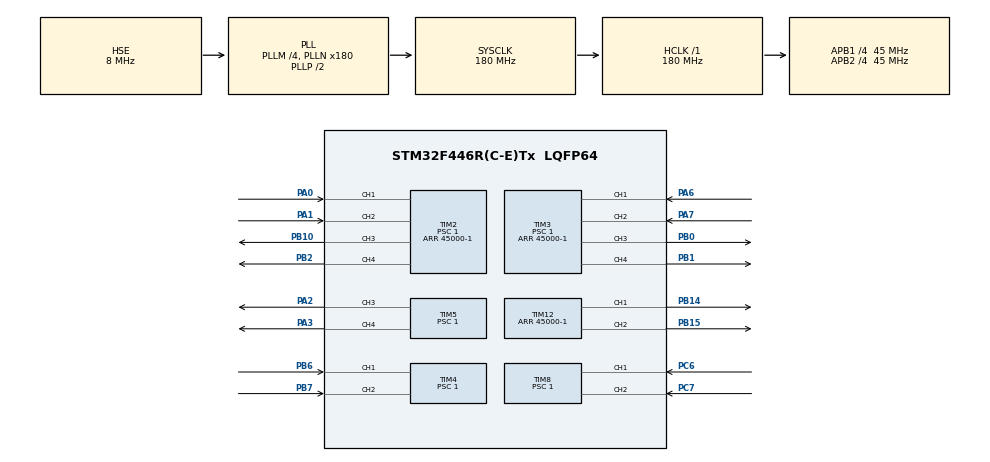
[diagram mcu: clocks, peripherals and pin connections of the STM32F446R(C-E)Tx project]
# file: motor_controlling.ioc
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Mcu.Family=STM32F4
Mcu.Name=STM32F446R(C-E)Tx
Mcu.Package=LQFP64
NVIC.PriorityGroup=NVIC_PRIORITYGROUP_4
PA0-WKUP.Signal=S_TIM2_CH1_ETR
PA1.Signal=S_TIM2_CH2
PA2.Signal=S_TIM5_CH3
PA3.Signal=S_TIM5_CH4
PA6.Signal=S_TIM3_CH1
PA7.Signal=S_TIM3_CH2
PB0.Signal=S_TIM3_CH3
PB1.Signal=S_TIM3_CH4
PB10.Signal=S_TIM2_CH3
PB14.Signal=S_TIM12_CH1
PB15.Signal=S_TIM12_CH2
PB2.Signal=S_TIM2_CH4
PB6.Signal=S_TIM4_CH1
PB7.Signal=S_TIM4_CH2
PC6.Signal=S_TIM8_CH1
PC7.Signal=S_TIM8_CH2
PH0-OSC_IN.Mode=HSE-External-Oscillator
PH0-OSC_IN.Signal=RCC_OSC_IN
PH1-OSC_OUT.Mode=HSE-External-Oscillator
PH1-OSC_OUT.Signal=RCC_OSC_OUT
ProjectManager.HeapSize=0x200
ProjectManager.StackSize=0x400
ProjectManager.TargetToolchain=STM32CubeIDE
RCC.AHBFreq_Value=180000000
RCC.APB1CLKDivider=RCC_HCLK_DIV4
RCC.APB1Freq_Value=45000000
RCC.APB1TimFreq_Value=90000000
RCC.APB2CLKDivider=RCC_HCLK_DIV4
RCC.APB2Freq_Value=45000000
RCC.APB2TimFreq_Value=90000000
RCC.CortexFreq_Value=180000000
RCC.HCLKFreq_Value=180000000
RCC.HSE_VALUE=8000000
RCC.PLLM=4
RCC.PLLN=180
RCC.PLLSourceVirtual=RCC_PLLSOURCE_HSE
RCC.SYSCLKFreq_VALUE=180000000
RCC.SYSCLKSource=RCC_SYSCLKSOURCE_PLLCLK
RCC.USBFreq_Value=180000000
RCC.VCOOutputFreq_Value=360000000
SH.S_TIM12_CH1.0=TIM12_CH1,PWM Generation1 CH1
SH.S_TIM12_CH2.0=TIM12_CH2,PWM Generation2 CH2
SH.S_TIM2_CH1_ETR.0=TIM2_CH1,Encoder_Interface
SH.S_TIM2_CH2.0=TIM2_CH2,Encoder_Interface
SH.S_TIM2_CH3.0=TIM2_CH3,PWM Generation3 CH3
SH.S_TIM2_CH4.0=TIM2_CH4,PWM Generation4 CH4
SH.S_TIM3_CH1.0=TIM3_CH1,Encoder_Interface
SH.S_TIM3_CH2.0=TIM3_CH2,Encoder_Interface
SH.S_TIM3_CH3.0=TIM3_CH3,PWM Generation3 CH3
SH.S_TIM3_CH4.0=TIM3_CH4,PWM Generation4 CH4
SH.S_TIM4_CH1.0=TIM4_CH1,Encoder_Interface
SH.S_TIM4_CH2.0=TIM4_CH2,Encoder_Interface
SH.S_TIM5_CH3.0=TIM5_CH3,PWM Generation3 CH3
SH.S_TIM5_CH4.0=TIM5_CH4,PWM Generation4 CH4
SH.S_TIM8_CH1.0=TIM8_CH1,Encoder_Interface
SH.S_TIM8_CH2.0=TIM8_CH2,Encoder_Interface
TIM12.Channel-PWM\ Generation1\ CH1=TIM_CHANNEL_1
TIM12.Channel-PWM\ Generation2\ CH2=TIM_CHANNEL_2
TIM12.Period=45000-1
TIM2.Channel-PWM\ Generation3\ CH3=TIM_CHANNEL_3
TIM2.Channel-PWM\ Generation4\ CH4=TIM_CHANNEL_4
TIM2.Period=45000-1
TIM2.Prescaler=1
TIM3.Channel-PWM\ Generation3\ CH3=TIM_CHANNEL_3
TIM3.Channel-PWM\ Generation4\ CH4=TIM_CHANNEL_4
TIM3.Period=45000-1
TIM3.Prescaler=1
TIM4.Period=45000-1
TIM4.Prescaler=1
TIM5.Channel-PWM\ Generation3\ CH3=TIM_CHANNEL_3
TIM5.Channel-PWM\ Generation4\ CH4=TIM_CHANNEL_4
TIM5.Period=45000-1
TIM5.Prescaler=1
TIM8.Period=45000-1
TIM8.Prescaler=1
VP_TIM12_VS_ClockSourceINT.Mode=Internal
board=custom

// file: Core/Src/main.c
/* USER CODE BEGIN Header */
/**
  ******************************************************************************
  * @file           : main.c
  * @brief          : Main program body
  ******************************************************************************
  * @attention
  *
  * Copyright (c) 2025 STMicroelectronics.
  * All rights reserved.
  *
  * This software is licensed under terms that can be found in the LICENSE file
  * in the root directory of this software component.
  * If no LICENSE file comes with this software, it is provided AS-IS.
  *
  ******************************************************************************
  */
/* USER CODE END Header */
#include "main.h"

/* USER CODE BEGIN Includes */
#include <stdlib.h>
#include "motor_controlling.h"  //
/* USER CODE END Includes */

/* USER CODE BEGIN PD */
#define ENCODER_CPR 515  // Update based on your measured value (1040-1054)
/* USER CODE END PD */

TIM_HandleTypeDef htim2;
TIM_HandleTypeDef htim3;
TIM_HandleTypeDef htim4;
TIM_HandleTypeDef htim5;
TIM_HandleTypeDef htim8;
TIM_HandleTypeDef htim12;

/* USER CODE BEGIN PV */
MotorController motor1;
uint32_t last_update_time = 0;

static float current_rpm = 0.0f;
static uint32_t counter = 0;
/* USER CODE END PV */

void SystemClock_Config(void);
static void MX_GPIO_Init(void);
static void MX_TIM2_Init(void);
static void MX_TIM3_Init(void);
static void MX_TIM12_Init(void);
static void MX_TIM4_Init(void);
static void MX_TIM5_Init(void);
static void MX_TIM8_Init(void);
/* USER CODE BEGIN PFP */
void motor_stop(void);
void motor_forward(void);
void motor_backward(void);
int32_t get_encoder_count(void);
void update_rpm(void);
float get_rpm(void);
void motor_forward_speed(uint8_t speed_percent);
void motor_backward_speed(uint8_t speed_percent);
void motor_startup(uint8_t direction);
/* USER CODE END PFP */

int main(void)
{

  /* MCU Configuration--------------------------------------------------------*/

  /* Reset of all peripherals, Initializes the Flash interface and the Systick. */
  HAL_Init();

  /* Configure the system clock */
  SystemClock_Config();

  /* Initialize all configured peripherals */
  MX_GPIO_Init();
  MX_TIM2_Init();
  MX_TIM3_Init();
  MX_TIM12_Init();
  MX_TIM4_Init();
  MX_TIM5_Init();
  MX_TIM8_Init();
  /* USER CODE BEGIN 2 */
  // ✅ More aggressive base gains for faster response
  MotorController_Setup(&motor1, &htim2, &htim12,
                       TIM_CHANNEL_1,    // Timer12 CH1 - Forward
                       TIM_CHANNEL_2,    // Timer12 CH2 - Backward
                       2.5, 0.8, 0.05);  // Kp=2.5, Ki=0.8 (DOUBLED from 0.4), Kd=0.05

  HAL_TIM_Encoder_Start(&htim2, TIM_CHANNEL_ALL);

  // Enable motor controller
  MotorController_Enable(&motor1);

  MotorController_SetTargetRPM(&motor1, 130);  // Tăng từ 50 lên 100

  last_update_time = HAL_GetTick();
  /* USER CODE END 2 */

  /* Infinite loop */
  /* USER CODE BEGIN WHILE */
  while (1)
  {
    uint32_t current_time = HAL_GetTick();
    uint32_t dt = current_time - last_update_time;

    if (dt >= 10) {
        MotorController_Update(&motor1, dt);
        current_rpm = MotorController_GetRPM(&motor1);
        last_update_time = current_time;

        // ✅ MORE AGGRESSIVE: Reset integral periodically
        static uint32_t reset_counter = 0;
        reset_counter++;

        if (reset_counter >= 500) {  // Every 5 seconds
            motor1.integral *= 0.1f;  // Reduce integral by 90%
            reset_counter = 0;
        }

        // ✅ IMMEDIATE reset if motor is very close to target
        float error = fabs(130.0f - current_rpm);
        if (error < 0.5f) {
            motor1.integral = 0;  // Immediate reset when very close
        }
    }

    HAL_Delay(1);

    /* USER CODE END WHILE */
  }
  /* USER CODE END 3 */
}

void SystemClock_Config(void)
{
  RCC_OscInitTypeDef RCC_OscInitStruct = {0};
  RCC_ClkInitTypeDef RCC_ClkInitStruct = {0};

  /** Configure the main internal regulator output voltage
  */
  __HAL_RCC_PWR_CLK_ENABLE();
  __HAL_PWR_VOLTAGESCALING_CONFIG(PWR_REGULATOR_VOLTAGE_SCALE1);

  /** Initializes the RCC Oscillators according to the specified parameters
  * in the RCC_OscInitTypeDef structure.
  */
  RCC_OscInitStruct.OscillatorType = RCC_OSCILLATORTYPE_HSE;
  RCC_OscInitStruct.HSEState = RCC_HSE_ON;
  RCC_OscInitStruct.PLL.PLLState = RCC_PLL_ON;
  RCC_OscInitStruct.PLL.PLLSource = RCC_PLLSOURCE_HSE;
  RCC_OscInitStruct.PLL.PLLM = 4;
  RCC_OscInitStruct.PLL.PLLN = 180;
  RCC_OscInitStruct.PLL.PLLP = RCC_PLLP_DIV2;
  RCC_OscInitStruct.PLL.PLLQ = 2;
  RCC_OscInitStruct.PLL.PLLR = 2;
  if (HAL_RCC_OscConfig(&RCC_OscInitStruct) != HAL_OK)
  {
    Error_Handler();
  }

  /** Activate the Over-Drive mode
  */
  if (HAL_PWREx_EnableOverDrive() != HAL_OK)
  {
    Error_Handler();
  }

  /** Initializes the CPU, AHB and APB buses clocks
  */
  RCC_ClkInitStruct.ClockType = RCC_CLOCKTYPE_HCLK|RCC_CLOCKTYPE_SYSCLK
                              |RCC_CLOCKTYPE_PCLK1|RCC_CLOCKTYPE_PCLK2;
  RCC_ClkInitStruct.SYSCLKSource = RCC_SYSCLKSOURCE_PLLCLK;
  RCC_ClkInitStruct.AHBCLKDivider = RCC_SYSCLK_DIV1;
  RCC_ClkInitStruct.APB1CLKDivider = RCC_HCLK_DIV4;
  RCC_ClkInitStruct.APB2CLKDivider = RCC_HCLK_DIV4;

  if (HAL_RCC_ClockConfig(&RCC_ClkInitStruct, FLASH_LATENCY_5) != HAL_OK)
  {
    Error_Handler();
  }
}

static void MX_TIM2_Init(void)
{

  TIM_Encoder_InitTypeDef sConfig = {0};
  TIM_MasterConfigTypeDef sMasterConfig = {0};
  TIM_OC_InitTypeDef sConfigOC = {0};

  htim2.Instance = TIM2;
  htim2.Init.Prescaler = 1;
  htim2.Init.CounterMode = TIM_COUNTERMODE_UP;
  htim2.Init.Period = 45000-1;
  htim2.Init.ClockDivision = TIM_CLOCKDIVISION_DIV1;
  htim2.Init.AutoReloadPreload = TIM_AUTORELOAD_PRELOAD_DISABLE;
  if (HAL_TIM_PWM_Init(&htim2) != HAL_OK)
  {
    Error_Handler();
  }
  sConfig.EncoderMode = TIM_ENCODERMODE_TI1;
  sConfig.IC1Polarity = TIM_ICPOLARITY_RISING;
  sConfig.IC1Selection = TIM_ICSELECTION_DIRECTTI;
  sConfig.IC1Prescaler = TIM_ICPSC_DIV1;
  sConfig.IC1Filter = 0;
  sConfig.IC2Polarity = TIM_ICPOLARITY_RISING;
  sConfig.IC2Selection = TIM_ICSELECTION_DIRECTTI;
  sConfig.IC2Prescaler = TIM_ICPSC_DIV1;
  sConfig.IC2Filter = 0;
  if (HAL_TIM_Encoder_Init(&htim2, &sConfig) != HAL_OK)
  {
    Error_Handler();
  }
  sMasterConfig.MasterOutputTrigger = TIM_TRGO_RESET;
  sMasterConfig.MasterSlaveMode = TIM_MASTERSLAVEMODE_DISABLE;
  if (HAL_TIMEx_MasterConfigSynchronization(&htim2, &sMasterConfig) != HAL_OK)
  {
    Error_Handler();
  }
  sConfigOC.OCMode = TIM_OCMODE_PWM1;
  sConfigOC.Pulse = 0;
  sConfigOC.OCPolarity = TIM_OCPOLARITY_HIGH;
  sConfigOC.OCFastMode = TIM_OCFAST_DISABLE;
  if (HAL_TIM_PWM_ConfigChannel(&htim2, &sConfigOC, TIM_CHANNEL_3) != HAL_OK)
  {
    Error_Handler();
  }
  if (HAL_TIM_PWM_ConfigChannel(&htim2, &sConfigOC, TIM_CHANNEL_4) != HAL_OK)
  {
    Error_Handler();
  }
  HAL_TIM_MspPostInit(&htim2);

}

static void MX_TIM3_Init(void)
{

  TIM_Encoder_InitTypeDef sConfig = {0};
  TIM_MasterConfigTypeDef sMasterConfig = {0};
  TIM_OC_InitTypeDef sConfigOC = {0};

  htim3.Instance = TIM3;
  htim3.Init.Prescaler = 1;
  htim3.Init.CounterMode = TIM_COUNTERMODE_UP;
  htim3.Init.Period = 45000-1;
  htim3.Init.ClockDivision = TIM_CLOCKDIVISION_DIV1;
  htim3.Init.AutoReloadPreload = TIM_AUTORELOAD_PRELOAD_DISABLE;
  if (HAL_TIM_PWM_Init(&htim3) != HAL_OK)
  {
    Error_Handler();
  }
  sConfig.EncoderMode = TIM_ENCODERMODE_TI1;
  sConfig.IC1Polarity = TIM_ICPOLARITY_RISING;
  sConfig.IC1Selection = TIM_ICSELECTION_DIRECTTI;
  sConfig.IC1Prescaler = TIM_ICPSC_DIV1;
  sConfig.IC1Filter = 0;
  sConfig.IC2Polarity = TIM_ICPOLARITY_RISING;
  sConfig.IC2Selection = TIM_ICSELECTION_DIRECTTI;
  sConfig.IC2Prescaler = TIM_ICPSC_DIV1;
  sConfig.IC2Filter = 0;
  if (HAL_TIM_Encoder_Init(&htim3, &sConfig) != HAL_OK)
  {
    Error_Handler();
  }
  sMasterConfig.MasterOutputTrigger = TIM_TRGO_RESET;
  sMasterConfig.MasterSlaveMode = TIM_MASTERSLAVEMODE_DISABLE;
  if (HAL_TIMEx_MasterConfigSynchronization(&htim3, &sMasterConfig) != HAL_OK)
  {
    Error_Handler();
  }
  sConfigOC.OCMode = TIM_OCMODE_PWM1;
  sConfigOC.Pulse = 0;
  sConfigOC.OCPolarity = TIM_OCPOLARITY_HIGH;
  sConfigOC.OCFastMode = TIM_OCFAST_DISABLE;
  if (HAL_TIM_PWM_ConfigChannel(&htim3, &sConfigOC, TIM_CHANNEL_3) != HAL_OK)
  {
    Error_Handler();
  }
  if (HAL_TIM_PWM_ConfigChannel(&htim3, &sConfigOC, TIM_CHANNEL_4) != HAL_OK)
  {
    Error_Handler();
  }
  HAL_TIM_MspPostInit(&htim3);

}

static void MX_TIM4_Init(void)
{

  TIM_Encoder_InitTypeDef sConfig = {0};
  TIM_MasterConfigTypeDef sMasterConfig = {0};

  htim4.Instance = TIM4;
  htim4.Init.Prescaler = 1;
  htim4.Init.CounterMode = TIM_COUNTERMODE_UP;
  htim4.Init.Period = 45000-1;
  htim4.Init.ClockDivision = TIM_CLOCKDIVISION_DIV1;
  htim4.Init.AutoReloadPreload = TIM_AUTORELOAD_PRELOAD_DISABLE;
  sConfig.EncoderMode = TIM_ENCODERMODE_TI1;
  sConfig.IC1Polarity = TIM_ICPOLARITY_RISING;
  sConfig.IC1Selection = TIM_ICSELECTION_DIRECTTI;
  sConfig.IC1Prescaler = TIM_ICPSC_DIV1;
  sConfig.IC1Filter = 0;
  sConfig.IC2Polarity = TIM_ICPOLARITY_RISING;
  sConfig.IC2Selection = TIM_ICSELECTION_DIRECTTI;
  sConfig.IC2Prescaler = TIM_ICPSC_DIV1;
  sConfig.IC2Filter = 0;
  if (HAL_TIM_Encoder_Init(&htim4, &sConfig) != HAL_OK)
  {
    Error_Handler();
  }
  sMasterConfig.MasterOutputTrigger = TIM_TRGO_RESET;
  sMasterConfig.MasterSlaveMode = TIM_MASTERSLAVEMODE_DISABLE;
  if (HAL_TIMEx_MasterConfigSynchronization(&htim4, &sMasterConfig) != HAL_OK)
  {
    Error_Handler();
  }

}

static void MX_TIM5_Init(void)
{

  TIM_MasterConfigTypeDef sMasterConfig = {0};
  TIM_OC_InitTypeDef sConfigOC = {0};

  htim5.Instance = TIM5;
  htim5.Init.Prescaler = 1;
  htim5.Init.CounterMode = TIM_COUNTERMODE_UP;
  htim5.Init.Period = 45000-1;
  htim5.Init.ClockDivision = TIM_CLOCKDIVISION_DIV1;
  htim5.Init.AutoReloadPreload = TIM_AUTORELOAD_PRELOAD_DISABLE;
  if (HAL_TIM_PWM_Init(&htim5) != HAL_OK)
  {
    Error_Handler();
  }
  sMasterConfig.MasterOutputTrigger = TIM_TRGO_RESET;
  sMasterConfig.MasterSlaveMode = TIM_MASTERSLAVEMODE_DISABLE;
  if (HAL_TIMEx_MasterConfigSynchronization(&htim5, &sMasterConfig) != HAL_OK)
  {
    Error_Handler();
  }
  sConfigOC.OCMode = TIM_OCMODE_PWM1;
  sConfigOC.Pulse = 0;
  sConfigOC.OCPolarity = TIM_OCPOLARITY_HIGH;
  sConfigOC.OCFastMode = TIM_OCFAST_DISABLE;
  if (HAL_TIM_PWM_ConfigChannel(&htim5, &sConfigOC, TIM_CHANNEL_3) != HAL_OK)
  {
    Error_Handler();
  }
  if (HAL_TIM_PWM_ConfigChannel(&htim5, &sConfigOC, TIM_CHANNEL_4) != HAL_OK)
  {
    Error_Handler();
  }
  HAL_TIM_MspPostInit(&htim5);

}

static void MX_TIM8_Init(void)
{

  TIM_Encoder_InitTypeDef sConfig = {0};
  TIM_MasterConfigTypeDef sMasterConfig = {0};

  htim8.Instance = TIM8;
  htim8.Init.Prescaler = 1;
  htim8.Init.CounterMode = TIM_COUNTERMODE_UP;
  htim8.Init.Period = 45000-1;
  htim8.Init.ClockDivision = TIM_CLOCKDIVISION_DIV1;
  htim8.Init.RepetitionCounter = 0;
  htim8.Init.AutoReloadPreload = TIM_AUTORELOAD_PRELOAD_DISABLE;
  sConfig.EncoderMode = TIM_ENCODERMODE_TI1;
  sConfig.IC1Polarity = TIM_ICPOLARITY_RISING;
  sConfig.IC1Selection = TIM_ICSELECTION_DIRECTTI;
  sConfig.IC1Prescaler = TIM_ICPSC_DIV1;
  sConfig.IC1Filter = 0;
  sConfig.IC2Polarity = TIM_ICPOLARITY_RISING;
  sConfig.IC2Selection = TIM_ICSELECTION_DIRECTTI;
  sConfig.IC2Prescaler = TIM_ICPSC_DIV1;
  sConfig.IC2Filter = 0;
  if (HAL_TIM_Encoder_Init(&htim8, &sConfig) != HAL_OK)
  {
    Error_Handler();
  }
  sMasterConfig.MasterOutputTrigger = TIM_TRGO_RESET;
  sMasterConfig.MasterSlaveMode = TIM_MASTERSLAVEMODE_DISABLE;
  if (HAL_TIMEx_MasterConfigSynchronization(&htim8, &sMasterConfig) != HAL_OK)
  {
    Error_Handler();
  }

}

static void MX_TIM12_Init(void)
{

  TIM_ClockConfigTypeDef sClockSourceConfig = {0};
  TIM_OC_InitTypeDef sConfigOC = {0};

  htim12.Instance = TIM12;
  htim12.Init.Prescaler = 0;
  htim12.Init.CounterMode = TIM_COUNTERMODE_UP;
  htim12.Init.Period = 45000-1;
  htim12.Init.ClockDivision = TIM_CLOCKDIVISION_DIV1;
  htim12.Init.AutoReloadPreload = TIM_AUTORELOAD_PRELOAD_DISABLE;
  if (HAL_TIM_Base_Init(&htim12) != HAL_OK)
  {
    Error_Handler();
  }
  sClockSourceConfig.ClockSource = TIM_CLOCKSOURCE_INTERNAL;
  if (HAL_TIM_ConfigClockSource(&htim12, &sClockSourceConfig) != HAL_OK)
  {
    Error_Handler();
  }
  if (HAL_TIM_PWM_Init(&htim12) != HAL_OK)
  {
    Error_Handler();
  }
  sConfigOC.OCMode = TIM_OCMODE_PWM1;
  sConfigOC.Pulse = 0;
  sConfigOC.OCPolarity = TIM_OCPOLARITY_HIGH;
  sConfigOC.OCFastMode = TIM_OCFAST_DISABLE;
  if (HAL_TIM_PWM_ConfigChannel(&htim12, &sConfigOC, TIM_CHANNEL_1) != HAL_OK)
  {
    Error_Handler();
  }
  if (HAL_TIM_PWM_ConfigChannel(&htim12, &sConfigOC, TIM_CHANNEL_2) != HAL_OK)
  {
    Error_Handler();
  }
  HAL_TIM_MspPostInit(&htim12);

}

static void MX_GPIO_Init(void)
{

  /* GPIO Ports Clock Enable */
  __HAL_RCC_GPIOH_CLK_ENABLE();
  __HAL_RCC_GPIOA_CLK_ENABLE();
  __HAL_RCC_GPIOB_CLK_ENABLE();
  __HAL_RCC_GPIOC_CLK_ENABLE();

}

/* USER CODE BEGIN 4 */
// ✅ HÀM TEST MOTOR 100% VÀ ĐỌC RPM
void test_motor_100_percent(void) {
    static uint32_t last_rpm_update = 0;
    uint32_t current_time = HAL_GetTick();

    // ✅ CHẠY MOTOR 100% FORWARD
    Motor_SetDutyCycle(&motor1, 100);

    // ✅ ĐỌC RPM mỗi 100ms
    if (current_time - last_rpm_update >= 100) {
        // Đọc encoder counter
        int32_t curr = __HAL_TIM_GET_COUNTER(&htim2);
        int32_t diff = curr - motor1.last_count;

        // Tính RPM
        uint32_t dt = current_time - last_rpm_update;
        motor1.current_rpm = ((float)diff * 60000.0f) / (ENCODER_CPR * dt);
        motor1.last_count = curr;
        last_rpm_update = current_time;

        // ✅ CẬP NHẬT BIẾN RPM GLOBAL
        current_rpm = motor1.current_rpm;

        // Đặt breakpoint ở đây để xem current_rpm
        // current_rpm sẽ hiển thị RPM realtime
    }
}

/* USER CODE END 4 */

void Error_Handler(void)
{
  __disable_irq();
  while (1)
  {
  }
}
